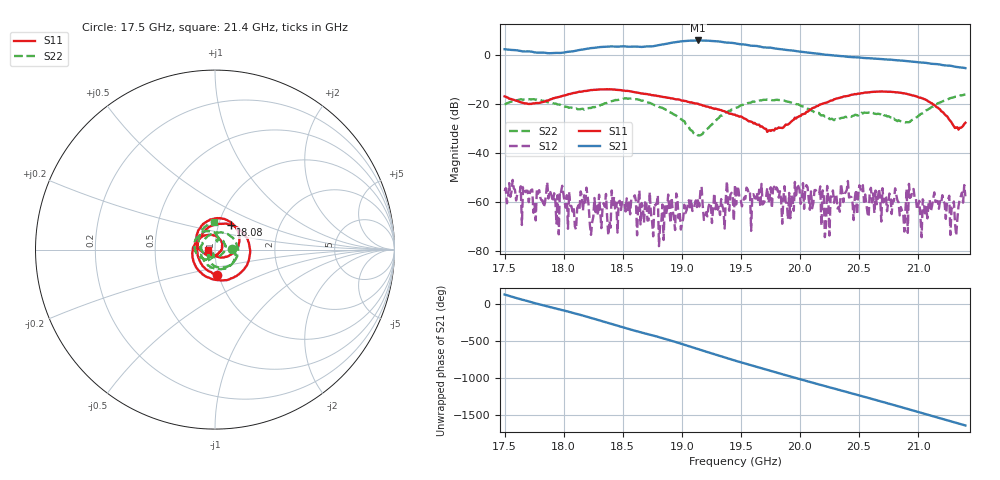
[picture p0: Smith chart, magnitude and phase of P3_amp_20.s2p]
!Created with skrf (http://scikit-rf.org).
# GHz S RI R 50.0
!freq ReS11 ImS11 ReS21 ImS21 ReS12 ImS12 ReS22 ImS22
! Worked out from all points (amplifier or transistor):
!   401 points, 17.5 GHz to 21.4 GHz, reference 50 ohm
!   highest |S21| = 5.8 dB at 19.14 GHz (marker M1)
!   |S21| within 3 dB of that: 18.26 GHz to 19.76 GHz (1.497 GHz wide, 7.87 % of centre)
!   unconditionally stable (mu >= 1): start of sweep to end of sweep
!   at 18.14 GHz: K = 232.77, MAG = 2.1 dB, |S12| = -55.7 dB
!   at 19.45 GHz: K = 130.46, MAG = 4.7 dB, |S12| = -53.0 dB
!   at 21.4 GHz: K = 697.49, MAG = -5.3 dB, |S12| = -57.7 dB
!   S11 on the Smith chart (normalised r, x): 17.5 GHz: 0.98, -0.28; 18.08 GHz: 1.14, +0.33; 21.4 GHz: 0.92, -0.00
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17.5  0.0104 -0.1414  -0.8216 0.9976  -0.00115 0.00122  0.0961 0.00322
17.773  -0.0973 0.0373  1.094 0.1289  0.000126 0.00181  0.0648 -0.1029
18.07525  0.0875 0.1386  -0.5154 -1.048  0.000621 0.000162  -0.0754 -0.0341
18.15325  0.1411 0.1071  -1.097 -0.6338  0.00136 -8.92e-05  -0.0771 0.0171
18.28  0.1935 0.0141  -1.236 0.6667  0.000454 0.000804  -0.0202 0.0867
18.4165  0.1653 -0.1043  0.0894 1.468  0.000432 -0.000636  0.085 0.0773
18.60175  0.0252 -0.17  1.468 0.0511  0.000556 -0.00126  0.1044 -0.067
18.8065  -0.106 -0.0969  0.1375 -1.568  0.000126 -5.37e-06  -0.0102 -0.0867
18.99175  -0.1165 0.0207  -1.847 -0.2416  -0.000209 -0.00018  -0.0372 -0.0321
19.138  -0.063 0.0776  -0.7712 1.792  -0.00113 0.000309  -0.0146 -0.0174
19.3135  0.00428 0.0762  1.684 0.7926  0.000603 0.000521  -0.0209 -0.0477
19.45  0.034 0.0496  1.281 -1.123  0.00121 0.00187  -0.0626 -0.0521
19.57675  0.04 0.0185  -0.2792 -1.511  0.00119 -0.00107  -0.1036 -0.0211
19.7425  0.0218 -0.0191  -1.392 -0.0978  0.00118 -9.87e-05  -0.1039 0.0632
19.92775  -0.0263 -0.035  -0.2203 1.202  -0.000615 -0.00125  -0.0282 0.1016
20.10325  -0.0811 -0.0056  0.9933 0.4146  -0.000543 -0.000516  0.0182 0.0692
20.3665  -0.0949 0.1032  -0.0348 -0.9307  -0.000711 0.000702  0.0109 0.0511
20.5615  -0.0209 0.1686  -0.8517 -0.0393  -0.000142 0.000913  0.0369 0.0543
20.7565  0.0854 0.1545  -0.0844 0.7897  0.000451 0.00142  0.0543 -0.00366
20.9515  0.1346 0.0621  0.7187 0.1028  0.00125 -0.00122  -0.0216 -0.0418
21.13675  0.0916 -0.0272  0.1606 -0.6298  0.000403 -0.00152  -0.089 0.0304
21.4  -0.0411 -0.00244  -0.5126 0.1498  -0.000958 -0.00089  -0.00803 0.1557
